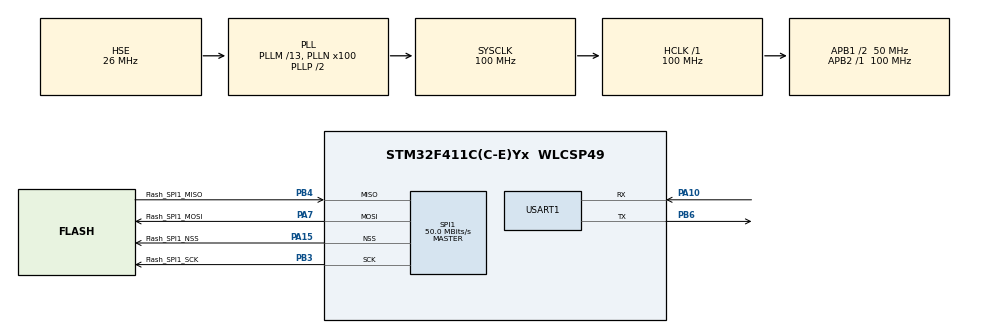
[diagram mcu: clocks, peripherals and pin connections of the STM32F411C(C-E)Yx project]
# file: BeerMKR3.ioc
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Dma.Request0=USART1_TX
Dma.Request1=USART1_RX
Dma.Request2=SPI1_RX
Dma.Request3=SPI1_TX
Dma.SPI1_RX.2.Direction=DMA_PERIPH_TO_MEMORY
Dma.SPI1_RX.2.FIFOMode=DMA_FIFOMODE_DISABLE
Dma.SPI1_RX.2.Instance=DMA2_Stream0
Dma.SPI1_RX.2.MemDataAlignment=DMA_MDATAALIGN_BYTE
Dma.SPI1_RX.2.MemInc=DMA_MINC_ENABLE
Dma.SPI1_RX.2.Mode=DMA_NORMAL
Dma.SPI1_RX.2.PeriphDataAlignment=DMA_PDATAALIGN_BYTE
Dma.SPI1_RX.2.PeriphInc=DMA_PINC_DISABLE
Dma.SPI1_RX.2.Priority=DMA_PRIORITY_LOW
Dma.SPI1_TX.3.Direction=DMA_MEMORY_TO_PERIPH
Dma.SPI1_TX.3.FIFOMode=DMA_FIFOMODE_DISABLE
Dma.SPI1_TX.3.Instance=DMA2_Stream3
Dma.SPI1_TX.3.MemDataAlignment=DMA_MDATAALIGN_BYTE
Dma.SPI1_TX.3.MemInc=DMA_MINC_ENABLE
Dma.SPI1_TX.3.Mode=DMA_NORMAL
Dma.SPI1_TX.3.PeriphDataAlignment=DMA_PDATAALIGN_BYTE
Dma.SPI1_TX.3.PeriphInc=DMA_PINC_DISABLE
Dma.SPI1_TX.3.Priority=DMA_PRIORITY_LOW
Dma.USART1_RX.1.Direction=DMA_PERIPH_TO_MEMORY
Dma.USART1_RX.1.FIFOMode=DMA_FIFOMODE_DISABLE
Dma.USART1_RX.1.Instance=DMA2_Stream2
Dma.USART1_RX.1.MemDataAlignment=DMA_MDATAALIGN_BYTE
Dma.USART1_RX.1.MemInc=DMA_MINC_ENABLE
Dma.USART1_RX.1.Mode=DMA_NORMAL
Dma.USART1_RX.1.PeriphDataAlignment=DMA_PDATAALIGN_BYTE
Dma.USART1_RX.1.PeriphInc=DMA_PINC_DISABLE
Dma.USART1_RX.1.Priority=DMA_PRIORITY_LOW
Dma.USART1_TX.0.Direction=DMA_MEMORY_TO_PERIPH
Dma.USART1_TX.0.FIFOMode=DMA_FIFOMODE_DISABLE
Dma.USART1_TX.0.Instance=DMA2_Stream7
Dma.USART1_TX.0.MemDataAlignment=DMA_MDATAALIGN_BYTE
Dma.USART1_TX.0.MemInc=DMA_MINC_ENABLE
Dma.USART1_TX.0.Mode=DMA_NORMAL
Dma.USART1_TX.0.PeriphDataAlignment=DMA_PDATAALIGN_BYTE
Dma.USART1_TX.0.PeriphInc=DMA_PINC_DISABLE
Dma.USART1_TX.0.Priority=DMA_PRIORITY_LOW
FREERTOS.Tasks01=defaultTask,24,128,StartDefaultTask,Default,NULL
FREERTOS.configTOTAL_HEAP_SIZE=40960
Mcu.Family=STM32F4
Mcu.Name=STM32F411C(C-E)Yx
Mcu.Package=WLCSP49
NVIC.DMA2_Stream0_IRQn=true\:5\:0\:false\:false\:true\:true\:false\:true
NVIC.DMA2_Stream2_IRQn=true\:5\:0\:false\:false\:true\:true\:false\:true
NVIC.DMA2_Stream3_IRQn=true\:5\:0\:false\:false\:true\:true\:false\:true
NVIC.DMA2_Stream7_IRQn=true\:5\:0\:false\:false\:true\:true\:false\:true
NVIC.PriorityGroup=NVIC_PRIORITYGROUP_4
NVIC.SPI1_IRQn=true\:5\:0\:false\:false\:true\:true\:true\:true
NVIC.TIM1_UP_TIM10_IRQn=true\:0\:0\:false\:false\:true\:false\:false\:true
NVIC.TimeBase=TIM1_UP_TIM10_IRQn
NVIC.TimeBaseIP=TIM1
NVIC.USART1_IRQn=true\:5\:0\:false\:false\:true\:true\:true\:true
PA10.Mode=Asynchronous
PA10.Signal=USART1_RX
PA13.Mode=Serial_Wire
PA13.Signal=SYS_JTMS-SWDIO
PA14.Mode=Serial_Wire
PA14.Signal=SYS_JTCK-SWCLK
PA15.GPIO_Label=Flash_SPI1_NSS
PA15.GPIO_PuPd=GPIO_NOPULL
PA15.Mode=NSS_Signal_Hard_Output
PA15.Signal=SPI1_NSS
PA7.GPIO_Label=Flash_SPI1_MOSI
PA7.Mode=Full_Duplex_Master
PA7.Signal=SPI1_MOSI
PB3.GPIO_Label=Flash_SPI1_SCK
PB3.Mode=Full_Duplex_Master
PB3.Signal=SPI1_SCK
PB4.GPIO_Label=Flash_SPI1_MISO
PB4.Mode=Full_Duplex_Master
PB4.Signal=SPI1_MISO
PB6.Mode=Asynchronous
PB6.Signal=USART1_TX
PC14-OSC32_IN.Mode=LSE-External-Oscillator
PC14-OSC32_IN.Signal=RCC_OSC32_IN
PC15-OSC32_OUT.Mode=LSE-External-Oscillator
PC15-OSC32_OUT.Signal=RCC_OSC32_OUT
PH0\ -\ OSC_IN.Mode=HSE-External-Oscillator
PH0\ -\ OSC_IN.Signal=RCC_OSC_IN
PH1\ -\ OSC_OUT.Mode=HSE-External-Oscillator
PH1\ -\ OSC_OUT.Signal=RCC_OSC_OUT
ProjectManager.HeapSize=0x200
ProjectManager.StackSize=0x400
ProjectManager.TargetToolchain=STM32CubeIDE
RCC.48MHZClocksFreq_Value=50000000
RCC.AHBFreq_Value=100000000
RCC.APB1CLKDivider=RCC_HCLK_DIV2
RCC.APB1Freq_Value=50000000
RCC.APB1TimFreq_Value=100000000
RCC.APB2Freq_Value=100000000
RCC.APB2TimFreq_Value=100000000
RCC.CortexFreq_Value=100000000
RCC.HCLKFreq_Value=100000000
RCC.HSE_VALUE=26000000
RCC.HSI_VALUE=16000000
RCC.MSIAutoCalibration=DISABLED
RCC.MSICalibrationValue=0
RCC.PLLM=13
RCC.PLLN=100
RCC.PLLSourceVirtual=RCC_PLLSOURCE_HSE
RCC.SYSCLKFreq_VALUE=100000000
RCC.SYSCLKSource=RCC_SYSCLKSOURCE_PLLCLK
RCC.VCOOutputFreq_Value=200000000
SPI1.BaudRatePrescaler=SPI_BAUDRATEPRESCALER_2
SPI1.CLKPolarity=SPI_POLARITY_LOW
SPI1.CRCCalculation=SPI_CRCCALCULATION_DISABLE
SPI1.CalculateBaudRate=50.0 MBits/s
SPI1.Direction=SPI_DIRECTION_2LINES
SPI1.FirstBit=SPI_FIRSTBIT_MSB
SPI1.Mode=SPI_MODE_MASTER
SPI1.TIMode=SPI_TIMODE_DISABLE
SPI1.VirtualNSS=VM_NSSHARD
SPI1.VirtualType=VM_MASTER
USART1.VirtualMode=VM_ASYNC
VP_FREERTOS_VS_CMSIS_V2.Mode=CMSIS_V2
VP_SYS_VS_tim1.Mode=TIM1
board=custom

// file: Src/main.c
/* USER CODE BEGIN Header */
/**
  ******************************************************************************
  * @file           : main.c
  * @brief          : Main program body
  ******************************************************************************
  * @attention
  *
  * <h2><center>&copy; Copyright (c) 2019 STMicroelectronics.
  * All rights reserved.</center></h2>
  *
  * This software component is licensed by ST under BSD 3-Clause license,
  * the "License"; You may not use this file except in compliance with the
  * License. You may obtain a copy of the License at:
  *                        opensource.org/licenses/BSD-3-Clause
  *
  ******************************************************************************
  */
/* USER CODE END Header */

#include "main.h"
#include "cmsis_os.h"
#include "dma.h"
#include "spi.h"
#include "usart.h"
#include "gpio.h"

/* USER CODE BEGIN Includes */
#include <string.h>
#include <stdio.h>
/* USER CODE END Includes */

void SystemClock_Config(void);
void MX_FREERTOS_Init(void);

/* USER CODE BEGIN 0 */

void spi_flash_test(void)
{
    uint16_t pageAddr = 0x123;
    const char wmsg[] = "This is a test message";
    char rmsg[sizeof(wmsg)] = {0};
    HAL_StatusTypeDef res1, res2;

    // read the device id
    {
        uint8_t devid_cmd[1] = { 0x9F };
        uint8_t devid_res[5];

        HAL_GPIO_WritePin(Flash_SPI1_NSS_GPIO_Port, Flash_SPI1_NSS_Pin, GPIO_PIN_RESET);
        res1 = HAL_SPI_Transmit_DMA(&hspi1, devid_cmd, sizeof(devid_cmd));
        res2 = HAL_SPI_Receive_DMA(&hspi1, devid_res, sizeof(devid_res));
        HAL_GPIO_WritePin(Flash_SPI1_NSS_GPIO_Port, Flash_SPI1_NSS_Pin, GPIO_PIN_SET);

        if((res1 != HAL_OK) || (res2 != HAL_OK)) {
            char msg[256];
            snprintf(msg, sizeof(msg), "Error during getting the device id, res1 = %d, res2 = %d\r\n", res1, res2);
            HAL_UART_Transmit(&huart1, (uint8_t*)msg, strlen(msg), HAL_MAX_DELAY);
            return;
        }

        {
            char msg[256];
            snprintf(msg, sizeof(msg),
                "Manufacturer ID: 0x%02X\r\n"
                "Device ID (byte 1): 0x%02X\r\n"
                "Device ID (byte 2): 0x%02X\r\n"
                "Extended device information (EDI) string length: 0x%02X\r\n"
                "EDI byte 1: 0x%02X\r\n"
                "--------\r\n",
                devid_res[0], devid_res[1], devid_res[2], devid_res[3], devid_res[4]);
            HAL_UART_Transmit(&huart1, (uint8_t*)msg, strlen(msg), HAL_MAX_DELAY);
        }
    }

    // write test
    /* if(0) */ {
        uint8_t wcmd[4];
        // opcode
        wcmd[0] = 0x82; // 0x82 for buffer 1, 0x85 for buffer 2
        // for 512 bytes/page chip address is transfered in form:
        // 000AAAAA AAAAAAAa aaaaaaaa
        // wcmd[1] = (pageAddr >> 7) & 0x1F;
        // wcmd[2] = (pageAddr << 1) & 0xFE;
        // wcmd[3] = 0x00;

        // 00PPPPPP PPPPPPBB BBBBBBBB
        wcmd[1] = (pageAddr >> 6) & 0x3F;
        wcmd[2] = (pageAddr << 2) & 0xFC;
        wcmd[3] = 0x00;

        HAL_GPIO_WritePin(Flash_SPI1_NSS_GPIO_Port, Flash_SPI1_NSS_Pin, GPIO_PIN_RESET);
        res1 = HAL_SPI_Transmit(&hspi1, wcmd, sizeof(wcmd), HAL_MAX_DELAY);
        res2 = HAL_SPI_Transmit(&hspi1, (uint8_t*)wmsg, sizeof(wmsg), HAL_MAX_DELAY);
        HAL_GPIO_WritePin(Flash_SPI1_NSS_GPIO_Port, Flash_SPI1_NSS_Pin, GPIO_PIN_SET);

        if((res1 != HAL_OK) || (res2 != HAL_OK)) {
            char msg[256];
            snprintf(msg, sizeof(msg), "Error during writing the data, res1 = %d, res2 = %d\r\n", res1, res2);
            HAL_UART_Transmit(&huart1, (uint8_t*)msg, strlen(msg), HAL_MAX_DELAY);
            return;
        }
    }

    // wait until device is ready (using HAL_Delay is error-prone!)
    {
        uint32_t delta = HAL_GetTick();
        uint32_t cnt = 0;

        uint8_t status_cmd[1] = { 0xD7 };
        uint8_t status_res[2];
        HAL_GPIO_WritePin(Flash_SPI1_NSS_GPIO_Port, Flash_SPI1_NSS_Pin, GPIO_PIN_RESET);
        HAL_SPI_Transmit(&hspi1, status_cmd, sizeof(status_cmd), HAL_MAX_DELAY);
        do {
            cnt++;
            res1 = HAL_SPI_Receive(&hspi1, status_res, sizeof(status_res), HAL_MAX_DELAY);
            if(res1 != HAL_OK)
                break;
        } while (! (status_res[0] & 0x80)); // check RDY flag
        HAL_GPIO_WritePin(Flash_SPI1_NSS_GPIO_Port, Flash_SPI1_NSS_Pin, GPIO_PIN_SET);

        delta = HAL_GetTick() - delta;
        uint8_t protect = (status_res[0] >> 1) & 0x01;
        uint8_t page_size = (status_res[0]) & 0x01;
        uint8_t epe = (status_res[1] >> 5) & 0x01;
        uint8_t sle = (status_res[1] >> 3) & 0x01;
        char msg[256];
        snprintf(msg, sizeof(msg),
            "Await loop took %ld ms, %ld iterations\r\n"
            "Sector protection status: %s\r\n"
            "Page size: %d bytes\r\n"
            "Erase/program error: %s\r\n"
            "Sector lockdown command: %s\r\n"
            "--------\r\n",
            delta, cnt,
            protect ? "enabled" : "disabled",
            page_size ? 512 : 528,
            epe ? "ERROR!" : "no error",
            sle ? "enabled" : "disabled");
        HAL_UART_Transmit(&huart1, (uint8_t*)msg, strlen(msg), HAL_MAX_DELAY);
    }

    // read test
    {
        uint8_t rcmd[5];
        // opcode
        rcmd[0] = 0x0B; // Note: 0x1B is supported by Adesto chips, but not Atmel chips, so use 0x0B

        // for 512 bytes/page chip address is transfered in form:
        // rcmd[1] = (pageAddr >> 7) & 0x1F;
        // rcmd[2] = (pageAddr << 1) & 0xFE;
        // rcmd[3] = 0x00;

        // 00PPPPPP PPPPPPBB BBBBBBBB
        rcmd[1] = (pageAddr >> 6) & 0x3F;
        rcmd[2] = (pageAddr << 2) & 0xFC;
        rcmd[3] = 0x00;

        // one dummy byte
        rcmd[4] = 0x00;

        HAL_GPIO_WritePin(Flash_SPI1_NSS_GPIO_Port, Flash_SPI1_NSS_Pin, GPIO_PIN_RESET);
        res1 = HAL_SPI_Transmit(&hspi1, rcmd, sizeof(rcmd), HAL_MAX_DELAY);
        res2 = HAL_SPI_Receive(&hspi1, (uint8_t*)rmsg, sizeof(rmsg), HAL_MAX_DELAY);
        HAL_GPIO_WritePin(Flash_SPI1_NSS_GPIO_Port, Flash_SPI1_NSS_Pin, GPIO_PIN_SET);

        if((res1 != HAL_OK) || (res2 != HAL_OK)) {
            char msg[256];
            snprintf(msg, sizeof(msg), "Error during reading the data, res1 = %d, res2 = %d\r\n", res1, res2);
            HAL_UART_Transmit(&huart1, (uint8_t*)msg, strlen(msg), HAL_MAX_DELAY);
            return;
        }
    }

    if(memcmp(rmsg, wmsg, sizeof(rmsg)) == 0) {
        const char result[] = "Test passed!\r\n";
        HAL_UART_Transmit(&huart1, (uint8_t*)result, sizeof(result)-1,
                          HAL_MAX_DELAY);
    } else {
        char msg[256];
        snprintf(msg, sizeof(msg), "Test failed: wmsg = '%s', rmsg = '%s'\r\n", wmsg, rmsg);
        HAL_UART_Transmit(&huart1, (uint8_t*)msg, strlen(msg), HAL_MAX_DELAY);
    }
}
/* USER CODE END 0 */

int main(void)
{

  /* MCU Configuration--------------------------------------------------------*/

  /* Reset of all peripherals, Initializes the Flash interface and the Systick. */
  HAL_Init();

  /* Configure the system clock */
  SystemClock_Config();

  /* Initialize all configured peripherals */
  MX_GPIO_Init();
  MX_DMA_Init();
  MX_USART1_UART_Init();
  MX_SPI1_Init();
  /* USER CODE BEGIN 2 */
  for ( ;; )
  {
	  spi_flash_test();
	  HAL_Delay(1000);
  }
  /* USER CODE END 2 */

  /* Call init function for freertos objects (in freertos.c) */
  MX_FREERTOS_Init();

  /* Start scheduler */
  osKernelStart();

  /* We should never get here as control is now taken by the scheduler */

  /* Infinite loop */
  while (1)
  {

  }
}

void SystemClock_Config(void)
{
  RCC_OscInitTypeDef RCC_OscInitStruct = {0};
  RCC_ClkInitTypeDef RCC_ClkInitStruct = {0};

  /** Configure the main internal regulator output voltage
  */
  __HAL_RCC_PWR_CLK_ENABLE();
  __HAL_PWR_VOLTAGESCALING_CONFIG(PWR_REGULATOR_VOLTAGE_SCALE1);
  /** Initializes the CPU, AHB and APB busses clocks
  */
  RCC_OscInitStruct.OscillatorType = RCC_OSCILLATORTYPE_HSE;
  RCC_OscInitStruct.HSEState = RCC_HSE_ON;
  RCC_OscInitStruct.PLL.PLLState = RCC_PLL_ON;
  RCC_OscInitStruct.PLL.PLLSource = RCC_PLLSOURCE_HSE;
  RCC_OscInitStruct.PLL.PLLM = 13;
  RCC_OscInitStruct.PLL.PLLN = 100;
  RCC_OscInitStruct.PLL.PLLP = RCC_PLLP_DIV2;
  RCC_OscInitStruct.PLL.PLLQ = 4;
  if (HAL_RCC_OscConfig(&RCC_OscInitStruct) != HAL_OK)
  {
    Error_Handler();
  }
  /** Initializes the CPU, AHB and APB busses clocks
  */
  RCC_ClkInitStruct.ClockType = RCC_CLOCKTYPE_HCLK|RCC_CLOCKTYPE_SYSCLK
                              |RCC_CLOCKTYPE_PCLK1|RCC_CLOCKTYPE_PCLK2;
  RCC_ClkInitStruct.SYSCLKSource = RCC_SYSCLKSOURCE_PLLCLK;
  RCC_ClkInitStruct.AHBCLKDivider = RCC_SYSCLK_DIV1;
  RCC_ClkInitStruct.APB1CLKDivider = RCC_HCLK_DIV2;
  RCC_ClkInitStruct.APB2CLKDivider = RCC_HCLK_DIV1;

  if (HAL_RCC_ClockConfig(&RCC_ClkInitStruct, FLASH_LATENCY_3) != HAL_OK)
  {
    Error_Handler();
  }
}

void HAL_TIM_PeriodElapsedCallback(TIM_HandleTypeDef *htim)
{
  if (htim->Instance == TIM1) {
    HAL_IncTick();
  }
}

void Error_Handler(void)
{
}

/************************ (C) COPYRIGHT STMicroelectronics *****END OF FILE****/

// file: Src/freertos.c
/* USER CODE BEGIN Header */
/**
  ******************************************************************************
  * File Name          : freertos.c
  * Description        : Code for freertos applications
  ******************************************************************************
  * @attention
  *
  * <h2><center>&copy; Copyright (c) 2019 STMicroelectronics.
  * All rights reserved.</center></h2>
  *
  * This software component is licensed by ST under Ultimate Liberty license
  * SLA0044, the "License"; You may not use this file except in compliance with
  * the License. You may obtain a copy of the License at:
  *                             www.st.com/SLA0044
  *
  ******************************************************************************
  */
/* USER CODE END Header */

#include "FreeRTOS.h"
#include "task.h"
#include "main.h"
#include "cmsis_os.h"

/* USER CODE BEGIN Includes */
#include "usart.h"
#include <stdio.h>
#include <string.h>
#include "spi_flash.h"
/* USER CODE END Includes */

osThreadId_t defaultTaskHandle;

void StartDefaultTask(void *argument); // for v2

void MX_FREERTOS_Init(void); /* (MISRA C 2004 rule 8.1) */

void MX_FREERTOS_Init(void) {
osKernelInitialize(); // Initialize CMSIS-RTOS

  /* Create the thread(s) */
  /* definition and creation of defaultTask */
  const osThreadAttr_t defaultTask_attributes = {
    .name = "defaultTask",
    .priority = (osPriority_t) osPriorityNormal,
    .stack_size = 128
  };
  defaultTaskHandle = osThreadNew(StartDefaultTask, NULL, &defaultTask_attributes);

}

/* USER CODE BEGIN Header_StartDefaultTask */
unsigned char buffer[8];
char          msg[80];

/**
  * @brief  Function implementing the defaultTask thread.
  * @param  argument: Not used
  * @retval None
  */
/* USER CODE END Header_StartDefaultTask */
void StartDefaultTask(void *argument)
{

  /* USER CODE BEGIN StartDefaultTask */
  sflash_handle_t hflash = { 0 };
  int ret = init_sflash(&hflash, NULL, SFLASH_WRITE_ALLOWED);
  if (ret == 0)
  {
	  sprintf(msg, "SPI flash successfully initialized, device=0x%04x\r\n", (unsigned int)hflash.device_id);
  }
  else
  {
	  sprintf(msg, "SPI flash NOT initialized, ret=%d\r\n", ret);
  }
  HAL_UART_Transmit_DMA(&huart1, (uint8_t*)msg, strlen(msg));

  /* Infinite loop */
  int i = 0;
  unsigned long address = 0;
  while (1)
  {
    osDelay(1000);
  	sprintf(msg, "Hello world %d\r\n", i++);
	HAL_UART_Transmit_DMA(&huart1, (uint8_t*)msg, strlen(msg));
	osDelay(2);
#if 1
	ret = sflash_read(&hflash, address, buffer, sizeof(buffer));
	if (ret == 0)
	{
		msg[0] = '\0';
		for (int j = 0; j < sizeof(buffer); j++)
		{
			int offset = strlen(msg);
			sprintf(&msg[offset], "%02x ", buffer[j]);
		}
		strcat(msg,"\r\n");
		HAL_UART_Transmit_DMA(&huart1, (uint8_t*)msg, strlen(msg));
		address += sizeof(msg);
	}
#endif

  }

  /* USER CODE END StartDefaultTask */
}

/************************ (C) COPYRIGHT STMicroelectronics *****END OF FILE****/
